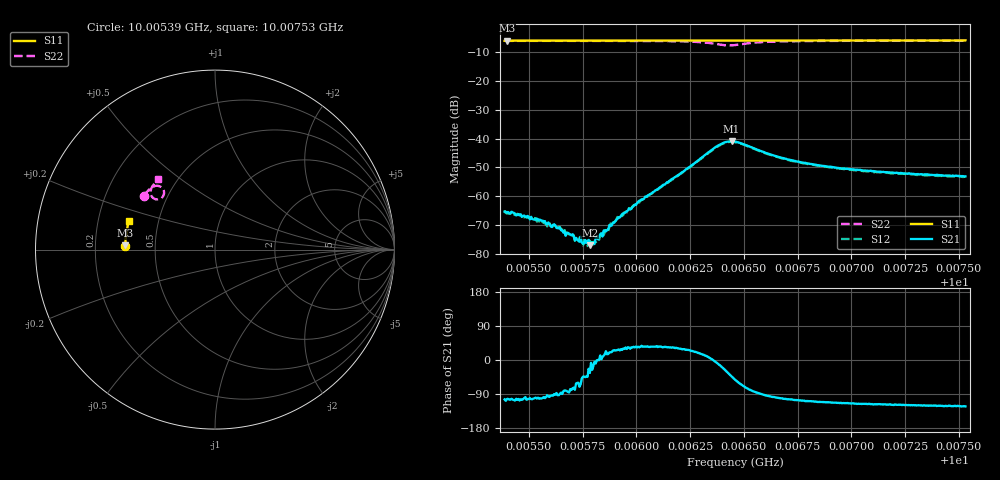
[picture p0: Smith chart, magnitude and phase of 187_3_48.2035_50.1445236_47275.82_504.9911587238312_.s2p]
#  HZ  S  RI  R  50.00
! Rohde & Schwarz Vector Network Analyzer
! Rohde-Schwarz,ZNB20-2Port,1311601062101988,3.16
! Created: UTC 3/20/2024, 11:44:23 AM
! freq[Hz]  re:S11  im:S11  re:S21  im:S21  re:S12  im:S12  re:S22  im:S22
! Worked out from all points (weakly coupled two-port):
!   401 points, 10.00539 GHz to 10.00753 GHz, reference 50 ohm
!   highest |S21| = -40.93 dB at 10.00644 GHz (marker M1); lowest = -76.9 dB at 10.00578 GHz (marker M2)
!   lowest |S11| = -6.0 dB at 10.0054 GHz (marker M3), VSWR 3.00, Z = 16.7 + j1.04 ohm
!   |S11| at or under -10 dB: nowhere
!   |S22| runs from -7.7 to -6.0 dB; largest |S21 - S12| = 0.00053
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1.0005388e10  -0.4998 0.0228  -0.000132 -0.000526  -0.000115 -0.000554  -0.3945 0.3009
1.0005398e10  -0.4998 0.0235  -0.000117 -0.000511  -9.38e-05 -0.000493  -0.394 0.3015
1.0005564e10  -0.4995 0.0344  -6.75e-05 -0.000373  -3.26e-05 -0.000355  -0.3869 0.3116
1.0005645e10  -0.4993 0.0397  4.73e-06 -0.000288  -3.19e-07 -0.00029  -0.3832 0.3164
1.0005747e10  -0.4989 0.0461  0.000103 -0.000118  8.17e-05 -0.000117  -0.3779 0.3227
1.0005757e10  -0.4989 0.0469  0.000109 -0.000105  0.000127 -0.000119  -0.3774 0.3233
1.0005784e10  -0.4988 0.0485  0.000119 -8.02e-05  0.000157 -6.13e-05  -0.3758 0.3252
1.0005795e10  -0.4987 0.0493  0.000143 -6.94e-05  0.000154 -4.49e-05  -0.3753 0.3258
1.0005816e10  -0.4987 0.0508  0.000195 -3.06e-06  0.000166 -1.42e-05  -0.3742 0.3271
1.0005832e10  -0.4985 0.0517  0.000213 4.51e-05  0.000208 2.67e-05  -0.3731 0.3282
1.0005859e10  -0.4984 0.0534  0.000226 9.64e-05  0.000237 9.87e-05  -0.3714 0.33
1.0005907e10  -0.4982 0.0567  0.000355 0.00017  0.000353 0.000179  -0.3684 0.3331
1.0005977e10  -0.4978 0.0612  0.000503 0.000332  0.000499 0.000377  -0.3634 0.3378
1.0006106e10  -0.4969 0.0695  0.00113 0.000804  0.00106 0.000846  -0.3514 0.3471
1.0006373e10  -0.494 0.0865  0.00727 -0.000886  0.00712 -0.000488  -0.2861 0.3301
1.0006411e10  -0.4936 0.0888  0.00781 -0.00368  0.00776 -0.00325  -0.2861 0.3039
1.0006443e10  -0.4934 0.0906  0.0065 -0.0062  0.0067 -0.00571  -0.3016 0.2848
1.0006459e10  -0.4934 0.0915  0.0055 -0.00697  0.00574 -0.00654  -0.3127 0.2803
1.0006663e10  -0.4917 0.1045  -0.000838 -0.00473  -0.000625 -0.00468  -0.3593 0.3255
1.0006818e10  -0.49 0.1144  -0.00118 -0.00342  -0.00102 -0.00338  -0.3524 0.3461
1.0007177e10  -0.485 0.137  -0.00118 -0.0023  -0.0011 -0.0023  -0.3334 0.3725
1.0007531e10  -0.479 0.159  -0.00119 -0.00187  -0.00107 -0.0019  -0.3149 0.391
